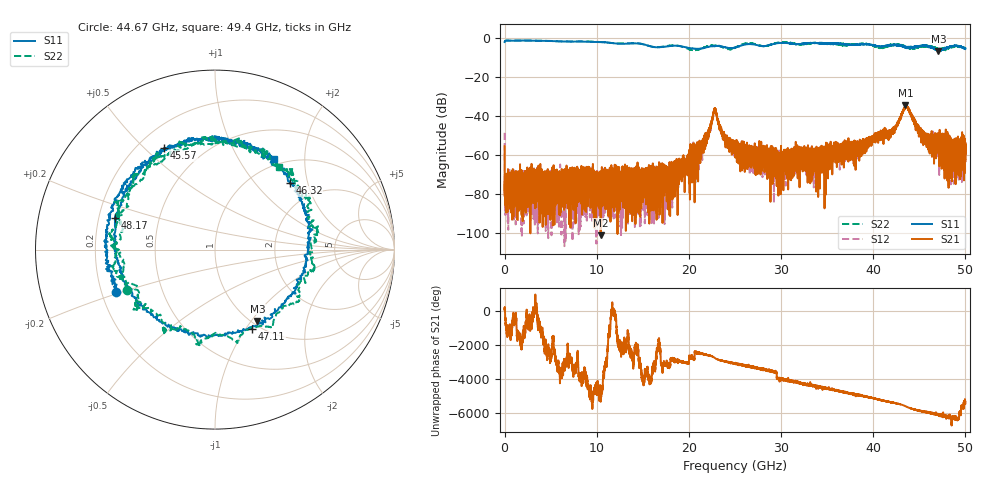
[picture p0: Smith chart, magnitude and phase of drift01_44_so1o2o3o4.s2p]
!Created with skrf (http://scikit-rf.org).
# Hz S RI R 50.0
!freq ReS11 ImS11 ReS21 ImS21 ReS12 ImS12 ReS22 ImS22
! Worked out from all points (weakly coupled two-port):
!   10001 points, 300 kHz to 50 GHz, reference 50 ohm
!   highest |S21| = -34.71 dB at 43.5 GHz (marker M1); lowest = -101.3 dB at 10.42 GHz (marker M2)
!   lowest |S11| = -6.7 dB at 47.07 GHz (marker M3), VSWR 2.72, Z = 52.9 - j53.6 ohm
!   |S11| at or under -10 dB: nowhere
!   |S22| runs from -6.7 to -1.4 dB; largest |S21 - S12| = 0.0039
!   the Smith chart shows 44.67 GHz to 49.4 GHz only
!   S11 on the Smith chart (normalised r, x): 44.67 GHz: 0.26, -0.19; 45.57 GHz: 0.31, +0.58; 46.32 GHz: 1.44, +1.55; 47.11 GHz: 0.93, -1.07; 48.17 GHz: 0.27, +0.14; 49.4 GHz: 0.91, +1.43
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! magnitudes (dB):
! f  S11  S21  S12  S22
! 300 kHz  -2.1  -55.6  -48.7  -2.1
! 255.3 MHz  -1.4  -76.0  -71.9  -1.4
! 8.335 GHz  -2.0  -65.7  -74.8  -1.8
! 10.42 GHz  -2.2  -101.3  -77.6  -2.2
! 16.67 GHz  -4.9  -82.7  -75.6  -4.8
! 20.76 GHz  -5.6  -61.6  -64.7  -6.3
! 21.98 GHz  -4.8  -49.9  -50.8  -4.4
! 22.8 GHz  -4.3  -36.5  -36.3  -4.0
! 23.79 GHz  -4.7  -48.4  -50.5  -5.0
! 25 GHz  -5.0  -54.9  -56.7  -5.1
! 29.76 GHz  -2.7  -62.2  -65.0  -2.4
! 33.34 GHz  -2.6  -62.2  -66.7  -2.6
! 41.67 GHz  -3.9  -49.1  -47.6  -4.3
! 43.5 GHz  -4.7  -34.7  -35.5  -4.8
! 44.67 GHz  -4.4  -45.8  -44.6  -5.3
! 45.57 GHz  -4.0  -49.9  -51.5  -4.2
! 46.32 GHz  -5.1  -51.4  -53.7  -4.7
! 47.07 GHz  -6.7  -50.5  -54.6  -5.4
! 47.11 GHz  -6.3  -54.2  -51.5  -5.6
! 48.17 GHz  -4.7  -57.7  -56.9  -5.6
! 49.4 GHz  -4.4  -60.9  -62.2  -4.7
! 50 GHz  -5.5  -59.5  -62.5  -5.3
